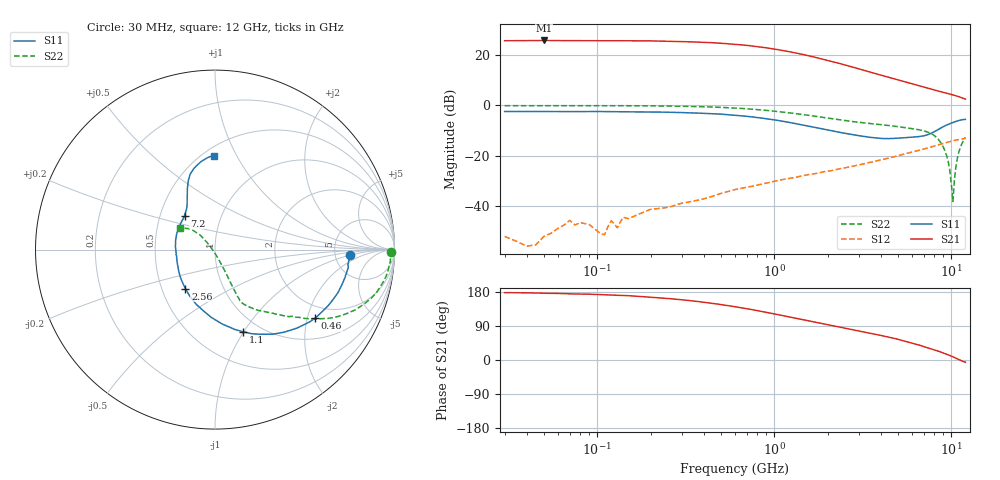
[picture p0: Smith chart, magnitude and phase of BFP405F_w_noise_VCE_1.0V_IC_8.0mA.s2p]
! Infineon Technologies  Discrete & RF Semiconductors
! BFP405F
! VCE =  1.0 V,  IC =  8.0 mA
! Common Emitter S-Parameters:  Nov 2015
# GHz  S  MA  R  50
!  f  S11  S21  S12  S22
! GHz  MAG  ANG  MAG  ANG  MAG  ANG  MAG  ANG
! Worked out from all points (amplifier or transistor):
!   239 points, 30 MHz to 12 GHz, reference 50 ohm
!   highest |S21| = 25.7 dB at 50 MHz (marker M1)
!   |S21| within 3 dB of that: start of sweep to 919.3 MHz
!   unconditionally stable (mu >= 1): 2.305 GHz to end of sweep
!   at 300 MHz: K = 0.15, MSG = 32.1 dB, |S12| = -38.9 dB
!   at 1.88 GHz: K = 0.87, MSG = 22.4 dB, |S12| = -26.5 dB
!   at 12 GHz: K = 1.41, MAG = 3.9 dB, |S12| = -13.2 dB
!   lowest NFmin = 1.52 dB at 450 MHz
!   S11 on the Smith chart (normalised r, x): 30 MHz: 6.90, -0.87; 460 MHz: 1.59, -2.23; 1.1 GHz: 0.83, -1.00; 2.56 GHz: 0.66, -0.31; 7.2 GHz: 0.67, +0.27; 12 GHz: 0.56, +0.81
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0.03  0.7503 -2.1  18.96 177.7  0.0025 91.5  0.9781 -0.9
0.05  0.747 -4.2  19.21 176.2  0.0025 38.3  0.9832 -1.9
0.085  0.7467 -6.8  19.01 173.8  0.0045 98.8  0.9801 -3.0
0.11  0.7469 -8.7  18.95 172.2  0.0027 75.7  0.9798 -4.0
0.145  0.7414 -11.5  18.96 170.1  0.0058 83.8  0.9752 -5.4
0.24  0.727 -18.7  18.57 163.0  0.0092 79.2  0.9636 -9.1
0.32  0.7089 -24.6  18.16 157.6  0.0118 78.8  0.9476 -12.0
0.46  0.6753 -34.5  17.22 148.7  0.0161 75.0  0.9158 -16.7
0.6  0.6321 -43.8  16.12 140.5  0.0212 72.6  0.8764 -20.8
0.82  0.564 -56.7  14.34 129.4  0.0263 68.2  0.8118 -26.2
1.1  0.4846 -71.0  12.26 117.8  0.0332 63.1  0.7339 -31.5
1.64  0.3718 -94.5  9.188 101.4  0.0432 60.9  0.6145 -38.3
2.08  0.3143 -111.4  7.488 91.6  0.05 59.4  0.5448 -42.9
2.56  0.2723 -127.2  6.141 83.2  0.0582 58.1  0.4913 -46.9
3.3  0.2372 -148.0  4.785 72.9  0.0706 56.9  0.439 -51.6
4.5  0.2181 -176.7  3.513 59.6  0.0913 53.2  0.3932 -57.0
7.2  0.254 131.9  2.213 33.7  0.1385 42.9  0.2996 -64.1
9.2  0.3895 113.0  1.759 16.9  0.1775 33.1  0.1239 -65.4
9.8  0.4294 109.4  1.661 11.9  0.1893 29.8  0.051 -71.2
10.2  0.4532 106.6  1.6 8.4  0.1968 27.3  0.0123 -159.9
10.8  0.4858 101.0  1.509 3.0  0.206 23.4  0.0875 136.4
12  0.5228 90.8  1.318 -5.9  0.22 17.6  0.2288 147.8
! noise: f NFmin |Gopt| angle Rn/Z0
0.45  1.52  0.27  6  0.33
0.9  1.54  0.24  12  0.32
1.5  1.6  0.23  17  0.29
1.9  1.63  0.21  23  0.3
2.4  1.77  0.2  31  0.33
3  1.84  0.18  45  0.31
3.5  1.9  0.16  52  0.3
4.5  2.05  0.13  55  0.2
5.5  2.24  0.07  59  0.06
